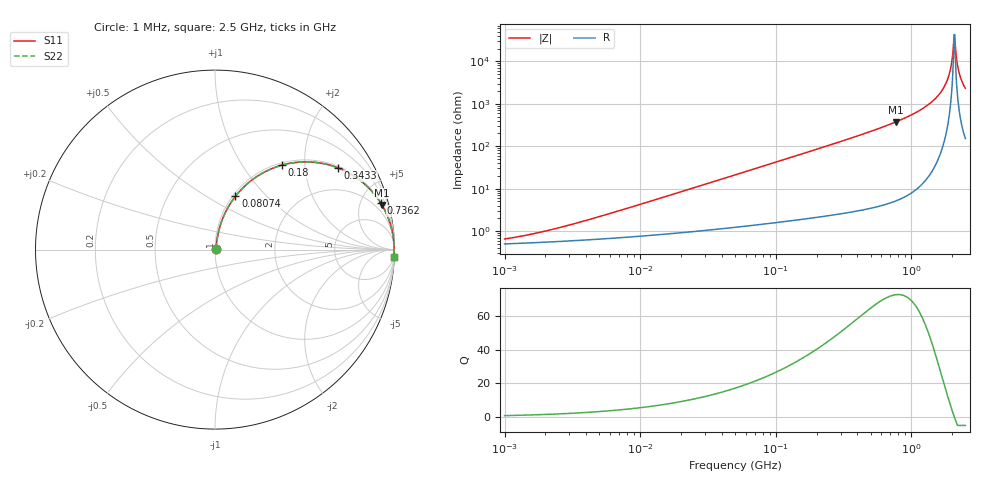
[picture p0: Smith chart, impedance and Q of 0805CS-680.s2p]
# MHz S MA R 50
!Freq  MagS11  AngS11  MagS21  AngS21  MagS12  AngS12  MagS22  AngS22
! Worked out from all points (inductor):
!   801 points, 1 MHz to 2.5 GHz, reference 50 ohm
!   read as one part in series: L = 67 nH near 4.554 MHz
!   highest Q = 72.7 at 765.6 MHz (marker M1), where L = 77.6 nH
!   self-resonance near 2.056 GHz
!   S11 on the Smith chart (normalised r, x): 1 MHz: 1.01, +0.01; 80.74 MHz: 1.03, +0.68; 180 MHz: 1.04, +1.53; 343.3 MHz: 1.05, +2.97; 736.2 MHz: 1.10, +7.09; 2.5 GHz: 4, -46
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1  0.006504 39.9  0.995 -0.2  0.995 -0.2  0.006504 39.9
3.70813  0.01666 67.7  0.9938 -0.9  0.9938 -0.9  0.01666 67.7
13.61641  0.05735 78.6  0.9902 -3.3  0.9902 -3.3  0.05735 78.6
50  0.204 74.9  0.9671 -11.8  0.9671 -11.8  0.204 74.9
80.74095  0.3184 69.0  0.9344 -18.5  0.9344 -18.5  0.3184 69.0
180.0457  0.5995 51.7  0.7847 -36.8  0.7847 -36.8  0.5995 51.7
185.4065  0.6108 50.9  0.7761 -37.6  0.7761 -37.6  0.6108 50.9
343.3308  0.8227 33.6  0.5535 -55.3  0.5535 -55.3  0.8227 33.6
680.8203  0.9511 17.2  0.296 -72.0  0.296 -72.0  0.9511 17.2
736.2272  0.959 15.7  0.2704 -73.5  0.2704 -73.5  0.959 15.7
765.5994  0.9626 14.9  0.2579 -74.3  0.2579 -74.3  0.9626 14.9
1200.558  0.9893 7.5  0.1301 -81.6  0.1301 -81.6  0.9893 7.5
1594.257  0.9962 3.5  0.06065 -84.6  0.06065 -84.6  0.9962 3.5
1740.946  0.9972 2.3  0.04013 -84.8  0.04013 -84.8  0.9972 2.3
1846.162  0.9975 1.5  0.02662 -84.0  0.02662 -84.0  0.9975 1.5
1938.684  0.9977 0.9  0.01547 -81.1  0.01547 -81.1  0.9977 0.9
2016.028  0.9977 0.4  0.006739 -70.3  0.006739 -70.3  0.9977 0.4
2076.055  0.9977 -0.0  0.002318 8.7  0.002318 8.7  0.9977 -0.0
2137.87  0.9976 -0.4  0.007441 71.1  0.007441 71.1  0.9976 -0.4
2201.524  0.9975 -0.8  0.01398 79.2  0.01398 79.2  0.9975 -0.8
2289.355  0.9972 -1.3  0.02287 82.3  0.02287 82.3  0.9972 -1.3
2500  0.9962 -2.5  0.04311 83.8  0.04311 83.8  0.9962 -2.5
